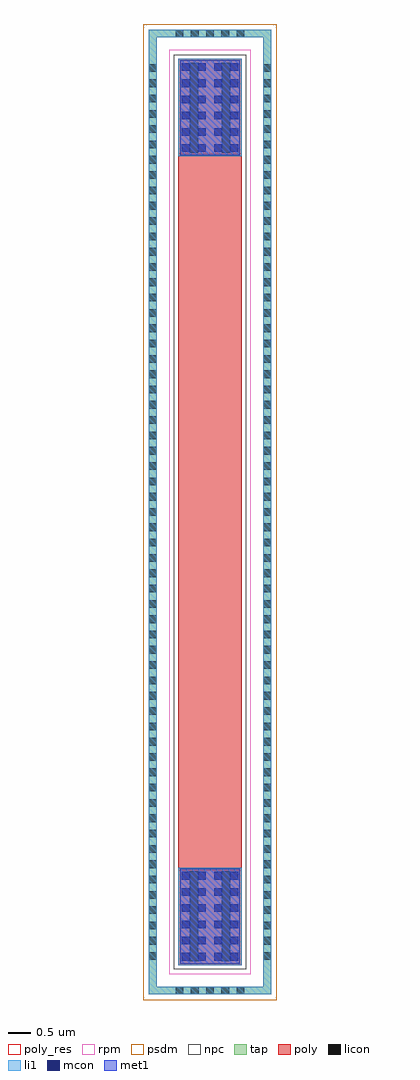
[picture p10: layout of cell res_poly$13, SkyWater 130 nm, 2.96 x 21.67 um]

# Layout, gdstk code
import gdstk
lib = gdstk.Library(unit=1e-6, precision=5e-09)
def R(c, l, rs):  # rectangles x0, y0, x1, y1
    for r in rs: c.add(gdstk.rectangle(r[:2], r[2:], *l))
def A(c, l, x, y, w, h, nx, ny, dx, dy):  # array of equal rectangles
    R(c, l, [(x+i*dx, y+j*dy, x+i*dx+w, y+j*dy+h) for i in range(nx) for j in range(ny)])
tap = (65, 44)
poly_res = (66, 13)
poly = (66, 20)
licon = (66, 44)
li1 = (67, 20)
mcon = (67, 44)
met1 = (68, 20)
rpm = (86, 20)
psdm = (94, 20)
npc = (95, 20)

res_poly_13 = lib.new_cell('res_poly$13')
R(res_poly_13, tap, [(-1.355,-10.71,1.355,-10.54), (-1.355,-10.54,-1.185,10.54), (1.185,-10.54,1.355,10.54), (-1.355,10.54,1.355,10.71)])
R(res_poly_13, poly_res, [(-0.705,-7.96,0.705,7.96)])
R(res_poly_13, poly, [(-0.705,-10.06,0.705,10.06)])
A(res_poly_13, licon, -0.765, -10.71, 0.17, 0.17, 5, 2, 0.34, 21.25)
A(res_poly_13, licon, -1.355, -9.945, 0.17, 0.17, 1, 59, 0, 0.34)
A(res_poly_13, licon, 1.185, -9.945, 0.17, 0.17, 1, 59, 0, 0.34)
R(res_poly_13, licon, [(-0.45,-9.98,-0.26,-7.98), (0.26,-9.98,0.45,-7.98), (-0.45,7.98,-0.26,9.98), (0.26,7.98,0.45,9.98)])
R(res_poly_13, li1, [(-1.355,-10.71,1.355,-10.54), (-1.355,-10.54,-1.185,10.54), (1.185,-10.54,1.355,10.54), (-0.705,-10.06,0.705,-7.9), (-0.705,7.9,0.705,10.06), (-1.355,10.54,1.355,10.71)])
A(res_poly_13, mcon, -0.625, -9.96, 0.17, 0.17, 4, 6, 0.36, 0.36)
A(res_poly_13, mcon, -0.625, 7.995, 0.17, 0.17, 4, 6, 0.36, 0.36)
R(res_poly_13, met1, [(-0.655,-10.03,0.655,-7.925), (-0.655,7.925,0.655,10.03)])
R(res_poly_13, rpm, [(-0.905,-10.26,0.905,10.26)])
R(res_poly_13, psdm, [(-1.48,-10.835,1.48,10.835)])
R(res_poly_13, npc, [(-0.8,-10.155,0.8,10.155)])

lib.write_gds('res_poly_13.gds')
